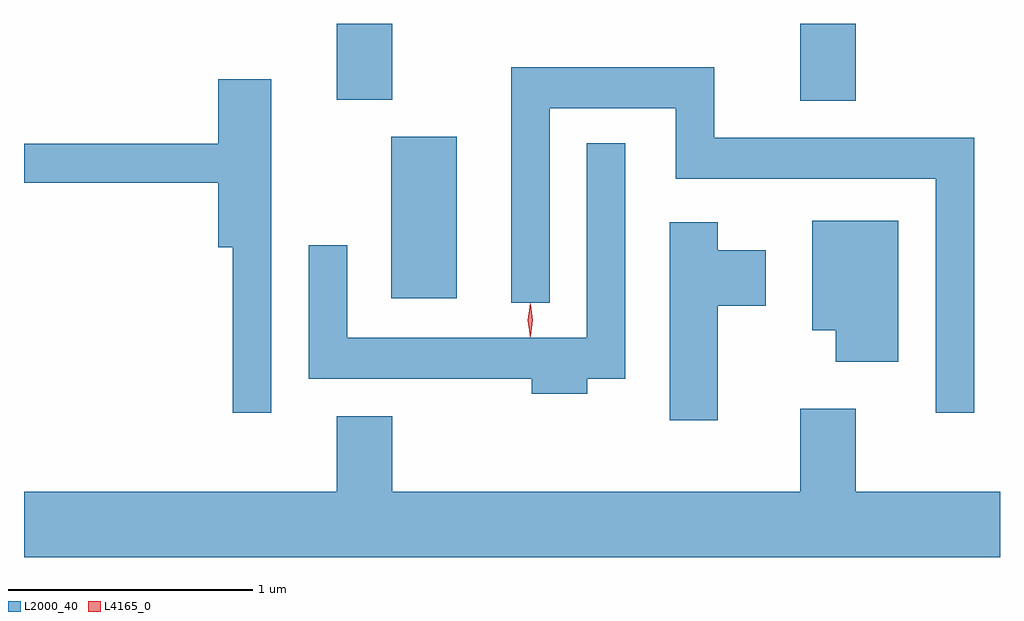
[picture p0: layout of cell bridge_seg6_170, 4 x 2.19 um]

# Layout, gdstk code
import gdstk
lib = gdstk.Library(unit=1e-6, precision=1e-09)
def R(c, l, rs):  # rectangles x0, y0, x1, y1
    for r in rs: c.add(gdstk.rectangle(r[:2], r[2:], *l))
def P(c, l, *ps):  # polygons
    for p in ps: c.add(gdstk.Polygon(p, *l))
L2000_40 = (2000, 40)
L4165_0 = (4165, 0)

bridge_seg6_170 = lib.new_cell('bridge_seg6_170')
R(bridge_seg6_170, L2000_40, [(1076.256,1588.836,1076.524,1589.499), (1077.931,1589.646,1078.159,1589.961), (1076.031,1589.651,1076.259,1589.961)])
P(bridge_seg6_170, L2000_40, [(1078.644,1589.494),(1077.579,1589.494),(1077.579,1589.784),(1076.746,1589.784),(1076.746,1588.818),(1076.904,1588.818),(1076.904,1589.616),(1077.421,1589.616),(1077.421,1589.326),(1078.486,1589.326),(1078.486,1588.368),(1078.644,1588.368)],
  [(1075.764,1589.734),(1075.546,1589.734),(1075.546,1589.469),(1074.75,1589.469),(1074.75,1589.311),(1075.546,1589.311),(1075.546,1589.046),(1075.606,1589.046),(1075.606,1588.368),(1075.764,1588.368)],
  [(1077.059,1588.506),(1077.214,1588.506),(1077.214,1589.473),(1077.056,1589.473),(1077.056,1588.674),(1076.074,1588.674),(1076.074,1589.053),(1075.916,1589.053),(1075.916,1588.506),(1076.831,1588.506),(1076.831,1588.446),(1077.059,1588.446)],
  [(1078.334,1589.154),(1077.981,1589.154),(1077.981,1588.706),(1078.076,1588.706),(1078.076,1588.576),(1078.334,1588.576)],
  [(1077.594,1588.806),(1077.789,1588.806),(1077.789,1589.034),(1077.594,1589.034),(1077.594,1589.149),(1077.396,1589.149),(1077.396,1588.336),(1077.594,1588.336)],
  [(1078.75,1588.044),(1078.159,1588.044),(1078.159,1588.384),(1077.931,1588.384),(1077.931,1588.044),(1076.259,1588.044),(1076.259,1588.354),(1076.031,1588.354),(1076.031,1588.044),(1074.75,1588.044),(1074.75,1587.776),(1078.75,1587.776)])
P(bridge_seg6_170, L4165_0, [(1076.826,1588.679),(1076.825,1588.68),(1076.816,1588.746),(1076.825,1588.812),(1076.825,1588.813),(1076.826,1588.812),(1076.836,1588.746),(1076.826,1588.68)],
  [(1076.824,1588.677),(1076.815,1588.746),(1076.824,1588.816),(1076.825,1588.816),(1076.825,1588.816),(1076.835,1588.746),(1076.825,1588.677),(1076.825,1588.677)])

lib.write_gds('bridge_seg6_170.gds')
